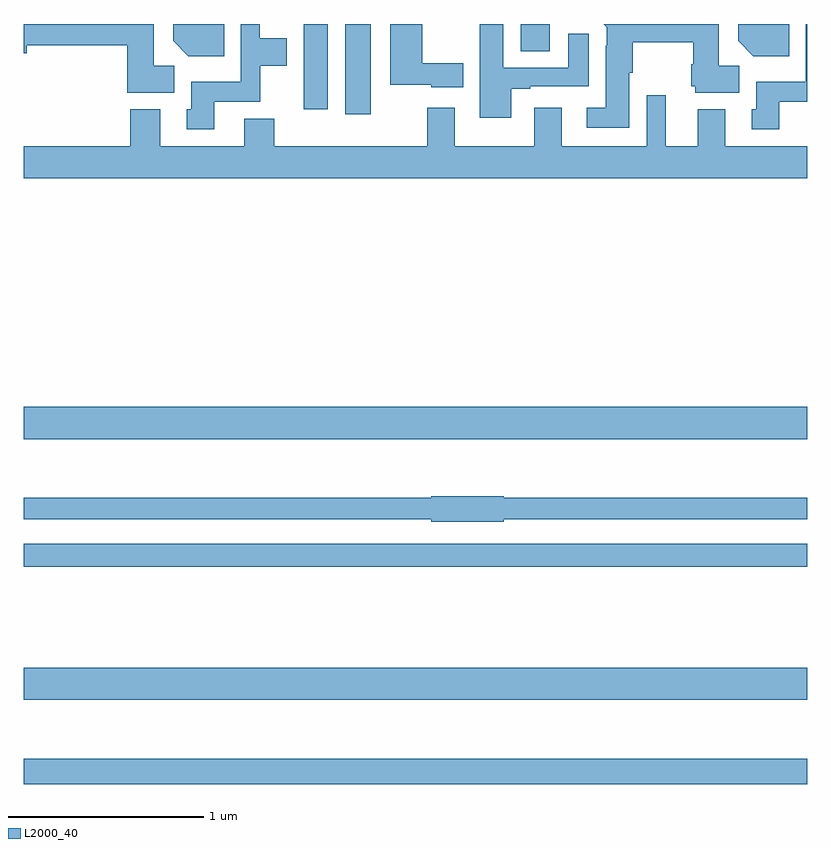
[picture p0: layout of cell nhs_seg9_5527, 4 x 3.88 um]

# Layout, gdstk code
import gdstk
lib = gdstk.Library(unit=1e-6, precision=1e-09)
def R(c, l, rs):  # rectangles x0, y0, x1, y1
    for r in rs: c.add(gdstk.rectangle(r[:2], r[2:], *l))
def P(c, l, *ps):  # polygons
    for p in ps: c.add(gdstk.Polygon(p, *l))
L2000_40 = (2000, 40)

nhs_seg9_5527 = lib.new_cell('nhs_seg9_5527')
R(nhs_seg9_5527, L2000_40, [(431,1234.618,435,1234.747), (431,1235.048,435,1235.212), (431,1235.728,435,1235.844), (431,1236.38,435,1236.544), (432.641,1238.04,432.772,1238.5), (432.428,1238.064,432.553,1238.5), (433.538,1238.362,433.687,1238.5)])
P(nhs_seg9_5527, L2000_40, [(433.243,1238.299),(433.034,1238.299),(433.034,1238.5),(432.872,1238.5),(432.872,1238.189),(433.08,1238.189),(433.08,1238.177),(433.243,1238.177)],
  [(433.489,1238.169),(433.585,1238.169),(433.585,1238.181),(433.885,1238.181),(433.885,1238.449),(433.781,1238.449),(433.781,1238.277),(433.447,1238.277),(433.447,1238.5),(433.328,1238.5),(433.328,1238.022),(433.489,1238.022)],
  [(431.767,1238.288),(431.662,1238.288),(431.662,1238.5),(431,1238.5),(431,1238.35),(431.014,1238.35),(431.014,1238.392),(431.528,1238.392),(431.528,1238.15),(431.767,1238.15)],
  [(432.023,1238.5),(431.762,1238.5),(431.762,1238.414),(431.84,1238.336),(432.023,1238.336)],
  [(434.909,1238.5),(434.648,1238.5),(434.648,1238.414),(434.726,1238.336),(434.909,1238.336)],
  [(431.971,1238.102),(432.207,1238.102),(432.207,1238.288),(432.343,1238.288),(432.343,1238.428),(432.204,1238.428),(432.204,1238.5),(432.108,1238.5),(432.108,1238.206),(431.855,1238.206),(431.855,1238.064),(431.831,1238.064),(431.831,1237.962),(431.971,1237.962)],
  [(434.857,1238.102),(435,1238.102),(435,1238.5),(434.994,1238.5),(434.994,1238.206),(434.741,1238.206),(434.741,1238.064),(434.717,1238.064),(434.717,1237.962),(434.857,1237.962)],
  [(434.092,1238.25),(434.11,1238.25),(434.11,1238.407),(434.419,1238.407),(434.419,1238.295),(434.408,1238.295),(434.408,1238.181),(434.43,1238.181),(434.43,1238.15),(434.653,1238.15),(434.653,1238.288),(434.548,1238.288),(434.548,1238.5),(433.961,1238.5),(433.977,1238.484),(433.977,1238.39),(433.973,1238.39),(433.973,1238.071),(433.875,1238.071),(433.875,1237.97),(434.092,1237.97)],
  [(435,1237.876),(434.581,1237.876),(434.581,1238.065),(434.441,1238.065),(434.441,1237.876),(434.278,1237.876),(434.278,1238.137),(434.181,1238.137),(434.181,1237.876),(433.747,1237.876),(433.747,1238.071),(433.607,1238.071),(433.607,1237.876),(433.201,1237.876),(433.201,1238.071),(433.061,1238.071),(433.061,1237.876),(432.278,1237.876),(432.278,1238.017),(432.125,1238.017),(432.125,1237.876),(431.695,1237.876),(431.695,1238.065),(431.543,1238.065),(431.543,1237.876),(431,1237.876),(431,1237.712),(435,1237.712)],
  [(433.452,1235.97),(435,1235.97),(435,1236.079),(433.452,1236.079),(433.452,1236.087),(433.08,1236.087),(433.08,1236.079),(431,1236.079),(431,1235.97),(433.08,1235.97),(433.08,1235.957),(433.452,1235.957)])

lib.write_gds('nhs_seg9_5527.gds')
